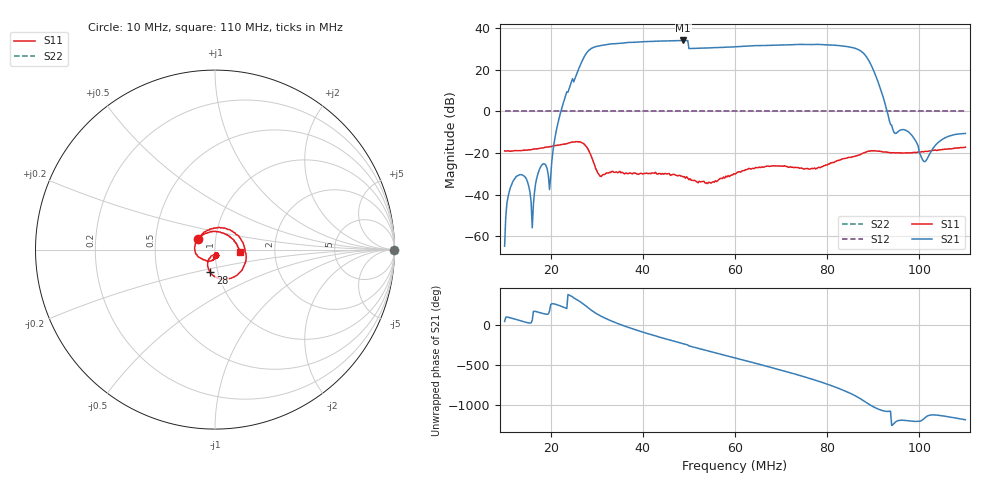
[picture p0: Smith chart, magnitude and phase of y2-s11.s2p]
! Anritsu VNA Master:  Model: MS2034B/10/19/501
! SN:  1337062
! /bd0/ovro-jan-2016/y2-s11.s2p
! Existing Calibration Information:
! TYPE:  Current Settings,  Active Cal Settings
! TIME:  01/08/2016 02:18:10 PM,  01/08/2016 02:08:01 PM
! INTERNAL TEMP:  46.5 C,  46.8 C
! # POINTS:  401,  401
! START FREQ:  10.000 MHz,  10.000 MHz
! STOP FREQ:  110.000 MHz,  110.000 MHz
! SOURCE POWER:  Low,  Low
! IFBW:  100 Hz,  100 Hz
! AVG FACTOR:  1 ,  1
! REF PLANE 1:  0 mm,  0 mm
! REF PLANE 2:  0 mm,  0 mm
! CAL TYPE:  Full S11,  Full S11
! CAL METHOD:  SOLT,  SOLT
! CAL LINE TYPE:  Coax,  Coax
! DUT PORT 1:  K-Conn(M),  K-Conn(M)
! DUT PORT 2:  N-Conn(M),  N-Conn(M)
! CAL STATUS:  OK: Accuracy High,  --
# GHZ S DB R 50.0
! FREQ.GHZ  S11DB  S11A  S21DB  S21A  S12DB  S12A  S22DB  S22A
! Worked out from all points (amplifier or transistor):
!   401 points, 10 MHz to 110 MHz, reference 50 ohm
!   highest |S21| = 34.2 dB at 48.75 MHz (marker M1)
!   |S21| within 3 dB of that: 60.49 MHz to 84.51 MHz (24.02 MHz wide, 33.1 % of centre)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
!   unconditionally stable (mu >= 1): nowhere
!   at 26.5 MHz: K = 6.65, MSG = 11.4 dB, |S12| = 0.0 dB
!   at 60 MHz: K = 17.87, MSG = 15.5 dB, |S12| = 0.0 dB
!   at 110 MHz: K = 0.16, MSG = -5.3 dB, |S12| = 0.0 dB
!   S11 on the Smith chart (normalised r, x): 10 MHz: 0.82, +0.10; 28 MHz: 0.92, -0.24; 110 MHz: 1.32, -0.03
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0.01  -18.91 148.6  -64.74 42.9  0.00 0.0  0.00 0.0
0.02425  -14.92 -14.4  12.68 4.4  0.00 0.0  0.00 0.0
0.02675  -14.98 -66.8  23.96 -85.8  0.00 0.0  0.00 0.0
0.028  -17.71 -101.8  28.72 -141.2  0.00 0.0  0.00 0.0
0.0295  -25.56 -120.4  30.98 156.1  0.00 0.0  0.00 0.0
0.03175  -30.29 -76.3  31.99 85.6  0.00 0.0  0.00 0.0
0.03575  -29.57 -77.8  32.92 -7.7  0.00 0.0  0.00 0.0
0.03975  -29.81 -76.5  33.48 -84.6  0.00 0.0  0.00 0.0
0.0435  -29.79 -82.7  33.85 -149.3  0.00 0.0  0.00 0.0
0.04875  -31.41 -92.4  34.15 126.4  0.00 0.0  0.00 0.0
0.05475  -34.41 -69.4  30.62 28.0  0.00 0.0  0.00 0.0
0.06  -30.07 -56.1  31.08 -50.0  0.00 0.0  0.00 0.0
0.064  -27.39 -67.7  31.62 -109.4  0.00 0.0  0.00 0.0
0.06875  -26.14 -85.4  31.87 177.9  0.00 0.0  0.00 0.0
0.07325  -26.94 -97.0  32.17 105.9  0.00 0.0  0.00 0.0
0.07675  -27.31 -98.5  32.18 45.7  0.00 0.0  0.00 0.0
0.07975  -25.64 -95.7  32.08 -10.5  0.00 0.0  0.00 0.0
0.083  -23.11 -113.0  31.56 -79.9  0.00 0.0  0.00 0.0
0.086  -21.57 -137.7  30.41 -157.4  0.00 0.0  0.00 0.0
0.08825  -19.65 -161.9  27.11 125.1  0.00 0.0  0.00 0.0
0.0935  -19.80 117.0  -4.40 6.1  0.00 0.0  0.00 0.0
0.11  -17.16 -4.9  -10.55 -98.4  0.00 0.0  0.00 0.0
